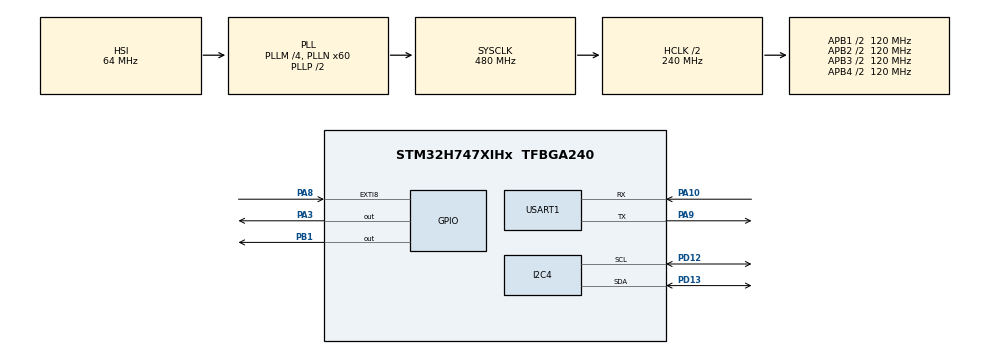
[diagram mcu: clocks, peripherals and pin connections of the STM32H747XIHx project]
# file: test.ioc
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CORTEX_M7.default_mode_Activation=1
CortexM4.IPs=CORTEX_M4\:I,FATFS_M4\:I,FREERTOS_M4\:I,IWDG2\:I,OPENAMP_M4\:I,PDM2PCM_M4\:I,PWR,RCC,RESMGR_UTILITY,SYS_M4\:I,USB_DEVICE_M4\:I,USB_HOST_M4\:I,VREFBUF,WWDG2\:I,GPIO,DMA,BDMA,MDMA,NVIC2\:I
CortexM7.IPs=CORTEX_M7\:I,FATFS_M7\:I,FREERTOS_M7\:I,IWDG1\:I,OPENAMP_M7\:I,PDM2PCM_M7\:I,PWR\:I,RCC\:I,RESMGR_UTILITY\:I,SYS\:I,USB_DEVICE_M7\:I,USB_HOST_M7\:I,VREFBUF\:I,WWDG1\:I,GPIO\:I,DMA\:I,BDMA\:I,MDMA\:I,NVIC1\:I,USART1\:I,I2C4\:I
CortexM7.Pins=PA8,PB1,PA3
I2C4.Timing=0x307075B1
Mcu.Family=STM32H7
Mcu.Name=STM32H747XIHx
Mcu.Package=TFBGA240
NVIC1.EXTI9_5_IRQn=true\:0\:0\:false\:false\:true\:true\:true\:true
NVIC1.PriorityGroup=NVIC_PRIORITYGROUP_4
NVIC1.USART1_IRQn=true\:0\:0\:false\:false\:true\:true\:true\:true
NVIC2.PriorityGroup=NVIC_PRIORITYGROUP_4
PA10.Mode=Asynchronous
PA10.PinAttribute=CortexM7
PA10.Signal=USART1_RX
PA3.PinAttribute=CortexM7
PA3.PinState=GPIO_PIN_SET
PA3.Signal=GPIO_Output
PA8.GPIO_ModeDefaultEXTI=GPIO_MODE_IT_RISING
PA8.GPIO_PuPd=GPIO_PULLDOWN
PA8.PinAttribute=CortexM7
PA8.Signal=GPXTI8
PA9.Mode=Asynchronous
PA9.PinAttribute=CortexM7
PA9.Signal=USART1_TX
PB1.PinAttribute=CortexM7
PB1.PinState=GPIO_PIN_SET
PB1.Signal=GPIO_Output
PD12.Mode=I2C
PD12.PinAttribute=CortexM7
PD12.Signal=I2C4_SCL
PD13.Mode=I2C
PD13.PinAttribute=CortexM7
PD13.Signal=I2C4_SDA
ProjectManager.HeapSize=M4-0x200,M7-0x200
ProjectManager.StackSize=M4-0x400,M7-0x400
ProjectManager.TargetToolchain=Makefile
RCC.ADCFreq_Value=129000000
RCC.APB1Freq_Value=120000000
RCC.APB2Freq_Value=120000000
RCC.APB3Freq_Value=120000000
RCC.APB4Freq_Value=120000000
RCC.CortexFreq_Value=480000000
RCC.D1PPRE=RCC_APB3_DIV2
RCC.D2PPRE1=RCC_APB1_DIV2
RCC.D2PPRE2=RCC_APB2_DIV2
RCC.D3PPRE=RCC_APB4_DIV2
RCC.DIVM1=4
RCC.DIVN1=60
RCC.HCLKFreq_Value=240000000
RCC.HPRE=RCC_HCLK_DIV2
RCC.PLL2FRACN=0
RCC.PLL3FRACN=0
RCC.PLLFRACN=0
RCC.SYSCLKFreq_VALUE=480000000
RCC.SYSCLKSource=RCC_SYSCLKSOURCE_PLLCLK
RCC.USBFreq_Value=480000000
SYS.userName=SYS_M7
USART1.VirtualMode-Asynchronous=VM_ASYNC
VP_SYS_M4_VS_Systick.Mode=SysTick
board=custom

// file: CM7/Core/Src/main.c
/* USER CODE BEGIN Header */
/**
 ******************************************************************************
 * @file           : main.c
 * @brief          : Main program body
 ******************************************************************************
 * @attention
 *
 * Copyright (c) 2026 STMicroelectronics.
 * All rights reserved.
 *
 * This software is licensed under terms that can be found in the LICENSE file
 * in the root directory of this software component.
 * If no LICENSE file comes with this software, it is provided AS-IS.
 *
 ******************************************************************************
 */
/* USER CODE END Header */
#include "main.h"
#include "i2c.h"
#include "usart.h"
#include "gpio.h"

/* USER CODE BEGIN PD */

#ifndef HSEM_ID_0
#define HSEM_ID_0 (0U) /* HW semaphore 0*/
#endif

/* USER CODE END PD */

/* USER CODE BEGIN PM */
#include <stdio.h>
#include <string.h>
#include "bl24c16f.h"
/* USER CODE END PM */

void SystemClock_Config(void);
static void MPU_Config(void);

int main(void)
{

  /* USER CODE BEGIN Boot_Mode_Sequence_0 */
  int32_t timeout;
  /* USER CODE END Boot_Mode_Sequence_0 */

  /* MPU Configuration--------------------------------------------------------*/
  MPU_Config();

  /* USER CODE BEGIN Boot_Mode_Sequence_1 */
  /* Wait until CPU2 boots and enters in stop mode or timeout*/
  timeout = 0xFFFF;
  while ((__HAL_RCC_GET_FLAG(RCC_FLAG_D2CKRDY) != RESET) && (timeout-- > 0))
    ;
  if (timeout < 0)
  {
    Error_Handler();
  }
  /* USER CODE END Boot_Mode_Sequence_1 */
  /* MCU Configuration--------------------------------------------------------*/

  /* Reset of all peripherals, Initializes the Flash interface and the Systick. */
  HAL_Init();

  /* Configure the system clock */
  SystemClock_Config();
  /* USER CODE BEGIN Boot_Mode_Sequence_2 */
  /* When system initialization is finished, Cortex-M7 will release Cortex-M4 by means of
  HSEM notification */
  /*HW semaphore Clock enable*/
  __HAL_RCC_HSEM_CLK_ENABLE();
  /*Take HSEM */
  HAL_HSEM_FastTake(HSEM_ID_0);
  /*Release HSEM in order to notify the CPU2(CM4)*/
  HAL_HSEM_Release(HSEM_ID_0, 0);
  /* wait until CPU2 wakes up from stop mode */
  timeout = 0xFFFF;
  while ((__HAL_RCC_GET_FLAG(RCC_FLAG_D2CKRDY) == RESET) && (timeout-- > 0))
    ;
  if (timeout < 0)
  {
    Error_Handler();
  }
  /* USER CODE END Boot_Mode_Sequence_2 */

  /* Initialize all configured peripherals */
  MX_GPIO_Init();
  MX_USART1_UART_Init();
  MX_I2C4_Init();
  /* USER CODE BEGIN 2 */
  BL24C16F_HandleTypeDef eeprom;
  uint8_t write_buf[4] = {0x11, 0x22, 0x33, 0x44};
  uint8_t read_buf[4] = {0};
  HAL_StatusTypeDef eeprom_status;

  BL24C16F_Init(&eeprom, &hi2c4);

  printf("BL24C16F driver test start\r\n");

  eeprom_status = BL24C16F_IsReady(&eeprom);
  if (eeprom_status != HAL_OK)
  {
    printf("EEPROM not ready, status=%d\r\n", eeprom_status);
  }
  else
  {
    printf("EEPROM ready\r\n");

    eeprom_status = BL24C16F_Write(&eeprom, 0x0000, write_buf, sizeof(write_buf));
    if (eeprom_status != HAL_OK)
    {
      printf("EEPROM write failed, status=%d\r\n", eeprom_status);
    }
    else
    {
      eeprom_status = BL24C16F_Read(&eeprom, 0x0000, read_buf, sizeof(read_buf));
      if (eeprom_status != HAL_OK)
      {
        printf("EEPROM read failed, status=%d\r\n", eeprom_status);
      }
      else if (memcmp(write_buf, read_buf, sizeof(read_buf)) == 0)
      {
        printf("EEPROM read/write OK\r\n");
      }
      else
      {
        printf("EEPROM data mismatch\r\n");
      }
    }
  }

  printf("EEPROM driver test done\r\n");

  /* USER CODE END 2 */

  /* Infinite loop */
  while (1)
  {

  }
}

void SystemClock_Config(void)
{
  RCC_OscInitTypeDef RCC_OscInitStruct = {0};
  RCC_ClkInitTypeDef RCC_ClkInitStruct = {0};

  /** Supply configuration update enable
   */
  HAL_PWREx_ConfigSupply(PWR_LDO_SUPPLY);

  /** Configure the main internal regulator output voltage
   */
  __HAL_PWR_VOLTAGESCALING_CONFIG(PWR_REGULATOR_VOLTAGE_SCALE0);

  while (!__HAL_PWR_GET_FLAG(PWR_FLAG_VOSRDY))
  {
  }

  /** Initializes the RCC Oscillators according to the specified parameters
   * in the RCC_OscInitTypeDef structure.
   */
  RCC_OscInitStruct.OscillatorType = RCC_OSCILLATORTYPE_HSI;
  RCC_OscInitStruct.HSIState = RCC_HSI_DIV1;
  RCC_OscInitStruct.HSICalibrationValue = RCC_HSICALIBRATION_DEFAULT;
  RCC_OscInitStruct.PLL.PLLState = RCC_PLL_ON;
  RCC_OscInitStruct.PLL.PLLSource = RCC_PLLSOURCE_HSI;
  RCC_OscInitStruct.PLL.PLLM = 4;
  RCC_OscInitStruct.PLL.PLLN = 60;
  RCC_OscInitStruct.PLL.PLLP = 2;
  RCC_OscInitStruct.PLL.PLLQ = 2;
  RCC_OscInitStruct.PLL.PLLR = 2;
  RCC_OscInitStruct.PLL.PLLRGE = RCC_PLL1VCIRANGE_3;
  RCC_OscInitStruct.PLL.PLLVCOSEL = RCC_PLL1VCOWIDE;
  RCC_OscInitStruct.PLL.PLLFRACN = 0;
  if (HAL_RCC_OscConfig(&RCC_OscInitStruct) != HAL_OK)
  {
    Error_Handler();
  }

  /** Initializes the CPU, AHB and APB buses clocks
   */
  RCC_ClkInitStruct.ClockType = RCC_CLOCKTYPE_HCLK | RCC_CLOCKTYPE_SYSCLK | RCC_CLOCKTYPE_PCLK1 | RCC_CLOCKTYPE_PCLK2 | RCC_CLOCKTYPE_D3PCLK1 | RCC_CLOCKTYPE_D1PCLK1;
  RCC_ClkInitStruct.SYSCLKSource = RCC_SYSCLKSOURCE_PLLCLK;
  RCC_ClkInitStruct.SYSCLKDivider = RCC_SYSCLK_DIV1;
  RCC_ClkInitStruct.AHBCLKDivider = RCC_HCLK_DIV2;
  RCC_ClkInitStruct.APB3CLKDivider = RCC_APB3_DIV2;
  RCC_ClkInitStruct.APB1CLKDivider = RCC_APB1_DIV2;
  RCC_ClkInitStruct.APB2CLKDivider = RCC_APB2_DIV2;
  RCC_ClkInitStruct.APB4CLKDivider = RCC_APB4_DIV2;

  if (HAL_RCC_ClockConfig(&RCC_ClkInitStruct, FLASH_LATENCY_4) != HAL_OK)
  {
    Error_Handler();
  }
}

/* MPU Configuration */

void MPU_Config(void)
{
  MPU_Region_InitTypeDef MPU_InitStruct = {0};

  /* Disables the MPU */
  HAL_MPU_Disable();

  /** Initializes and configures the Region and the memory to be protected
   */
  MPU_InitStruct.Enable = MPU_REGION_ENABLE;
  MPU_InitStruct.Number = MPU_REGION_NUMBER0;
  MPU_InitStruct.BaseAddress = 0x0;
  MPU_InitStruct.Size = MPU_REGION_SIZE_4GB;
  MPU_InitStruct.SubRegionDisable = 0x87;
  MPU_InitStruct.TypeExtField = MPU_TEX_LEVEL0;
  MPU_InitStruct.AccessPermission = MPU_REGION_NO_ACCESS;
  MPU_InitStruct.DisableExec = MPU_INSTRUCTION_ACCESS_DISABLE;
  MPU_InitStruct.IsShareable = MPU_ACCESS_SHAREABLE;
  MPU_InitStruct.IsCacheable = MPU_ACCESS_NOT_CACHEABLE;
  MPU_InitStruct.IsBufferable = MPU_ACCESS_NOT_BUFFERABLE;

  HAL_MPU_ConfigRegion(&MPU_InitStruct);
  /* Enables the MPU */
  HAL_MPU_Enable(MPU_PRIVILEGED_DEFAULT);
}

void Error_Handler(void)
{
  __disable_irq();
  while (1)
  {
  }
}
